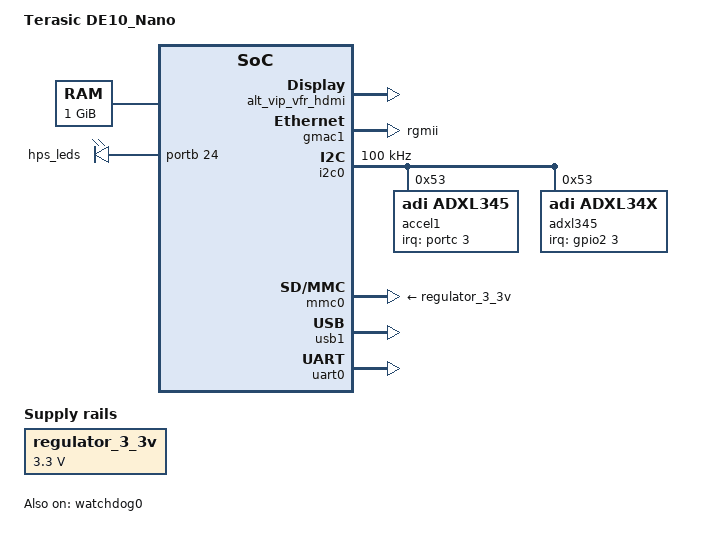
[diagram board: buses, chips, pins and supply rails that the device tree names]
/*
 *  Copyright (C) 2013 Steffen Trumtrar <s.trumtrar@pengutronix.de>
 *
 * This program is free software; you can redistribute it and/or modify
 * it under the terms of the GNU General Public License as published by
 * the Free Software Foundation; either version 2 of the License, or
 * (at your option) any later version.
 *
 * This program is distributed in the hope that it will be useful,
 * but WITHOUT ANY WARRANTY; without even the implied warranty of
 * MERCHANTABILITY or FITNESS FOR A PARTICULAR PURPOSE.  See the
 * GNU General Public License for more details.
 *
 * You should have received a copy of the GNU General Public License
 * along with this program.  If not, see <http://www.gnu.org/licenses/>.
 */

#include "socfpga_cyclone5.dtsi"
#include <dt-bindings/interrupt-controller/irq.h>
/ {
	model = "Terasic DE10_Nano";
	compatible = "altr,socfpga-cyclone5", "altr,socfpga";

	chosen {
		bootargs = "earlyprintk";
		stdout-path = "serial0:115200n8";
	};

	memory {
		name = "memory";
		device_type = "memory";
		reg = <0x0 0x40000000>; /* 1GB */
	};

	aliases {
		/* this allow the ethaddr uboot environmnet variable contents
		 * to be added to the gmac1 device tree blob.
		 */
		ethernet0 = &gmac1;
	};

	regulator_3_3v: vcc3p3-regulator {
		compatible = "regulator-fixed";
		regulator-name = "VCC3P3";
		regulator-min-microvolt = <3300000>;
		regulator-max-microvolt = <3300000>;
	};
	
	leds {
		compatible = "gpio-leds";
		user {
			label = "hps_leds";
			gpios = <&portb 24 0>;
			linux,default-trigger = "heartbeat";
		};
	};

	soc {
		gpio0 {
			status = "okay";
		};

		gpio1 {
			status = "okay";
		};

		gpio2 {
			status = "okay";
		};
	};


	hps_0_bridges: bridge@0xc0000000 {
		compatible = "altr,bridge-14.1", "simple-bus";
		reg = <0xc0000000 0x20000000>,
			<0xff200000 0x00200000>;
		reg-names = "axi_h2f", "axi_h2f_lw";
		#address-cells = <2>;
		#size-cells = <1>;
		ranges = <0x00000001 0x00002000 0xff202000 0x00000008>,
			<0x00000001 0x00030000 0xff230000 0x00000100>,
			<0x00000001 0x00031000 0xff231000 0x00000080>,
			<0x00000001 0x00001000 0xff201000 0x00000008>,
			<0x00000001 0x00003000 0xff203000 0x00000010>,
			<0x00000001 0x00003010 0xff203010 0x00000010>,
			<0x00000001 0x00003020 0xff203020 0x00000010>;

		alt_vip_vfr_hdmi: vip@0x100031000 {	
			compatible = "ALTR,vip-frame-reader-14.0", "ALTR,vip-frame-reader-9.1";
			reg = <0x00000001 0x00031000 0x00000080>;
			max-width = <1024>;	/* MAX_IMAGE_WIDTH type NUMBER */
			max-height = <768>;	/* MAX_IMAGE_HEIGHT type NUMBER */
			bits-per-color = <8>;	/* BITS_PER_PIXEL_PER_COLOR_PLANE type NUMBER */
			colors-per-beat = <4>;	/* NUMBER_OF_CHANNELS_IN_PARALLEL type NUMBER */
			beats-per-pixel = <1>;	/* NUMBER_OF_CHANNELS_IN_SEQUENCE type NUMBER */
			mem-word-width = <128>;	/* MEM_PORT_WIDTH type NUMBER */
			}; //end vip@0x100031000 (alt_vip_vfr_hdmi)

		led_pio: gpio@0x100003000 {
			compatible = "altr,pio-13.1", "altr,pio-1.0";
			reg = <0x00000001 0x00003000 0x00000010>;
			altr,gpio-bank-width = <7>;	/* embeddedsw.dts.params.altr,gpio-bank-width type NUMBER */
			resetvalue = <127>;	/* embeddedsw.dts.params.resetvalue type NUMBER */
			#gpio-cells = <2>;
			gpio-controller;
			}; //end gpio@0x100003000 (led_pio)

		dipsw_pio: gpio@0x100003010 {
			compatible = "ALTR,pio-13.1", "ALTR,pio-1.0", "altr,pio-1.0";
			reg = <0x00000001 0x00010080 0x00000010 >;
			interrupt-parent = < &intc >;
			interrupts = < 0 40 1 >;
			width = < 4 >;	/* embeddedsw.dts.params.width type NUMBER */
			resetvalue = < 0 >;	/* embeddedsw.dts.params.resetvalue type NUMBER */
			edge_type = < 2 >;	/* embeddedsw.dts.params.edge_type type NUMBER */
			level_trigger = < 0 >;	/* embeddedsw.dts.params.level_trigger type NUMBER */
			#gpio-cells = < 2 >;
			gpio-controller;
			}; //end gpio@0x100003010 (dipsw_pio)

		button_pio: gpio@0x100003020 {
			compatible = "ALTR,pio-13.1", "ALTR,pio-1.0", "altr,pio-1.0";
			reg = <0x00000001 0x00003010 0x00000010>;
			interrupt-parent = < &intc >;
			interrupts = < 0 41 1 >;
			width = < 2 >;	/* embeddedsw.dts.params.width type NUMBER */
			resetvalue = < 0 >;	/* embeddedsw.dts.params.resetvalue type NUMBER */
			edge_type = < 1 >;	/* embeddedsw.dts.params.edge_type type NUMBER */
			level_trigger = < 0 >;	/* embeddedsw.dts.params.level_trigger type NUMBER */
			#gpio-cells = < 2 >;
			gpio-controller;
			}; //end gpio@0x100003020 (button_pio)

	}; //end bridge@0xc0000000 (hps_0_bridges)
	
};

&osc1 {
	clock-frequency = <25000000>;
};

&gmac1 {
	status = "okay";
	phy-mode = "rgmii";

	rxd0-skew-ps = <0>;
	rxd1-skew-ps = <0>;
	rxd2-skew-ps = <0>;
	rxd3-skew-ps = <0>;
	txen-skew-ps = <0>;
	txc-skew-ps = <2600>;
	rxdv-skew-ps = <0>;
	rxc-skew-ps = <2000>;
};



&i2c0 {
	status = "okay";

	accel1: accelerometer@53 {
		compatible = "adi,adxl345";
		reg = <0x53>;

		interrupt-parent = <&portc>;
		interrupts = <3 2>;
	};
};

&mmc0 {
	vmmc-supply = <&regulator_3_3v>;
	vqmmc-supply = <&regulator_3_3v>;
	status = "okay";
};

&usb1 {
	status = "okay";
};

&uart0{
	status = "okay";
};

&watchdog0{
	status = "okay";
};

&i2c0 {
	status = "okay";
	clock-frequency = <100000>;
	speed-mode = <0>;

	adxl345@53 {
		compatible = "adi,adxl34x";
		reg = <0x53>;
		interrupt-parent = <&gpio2>;
		interrupts = <3 4>;
	};
};
		
